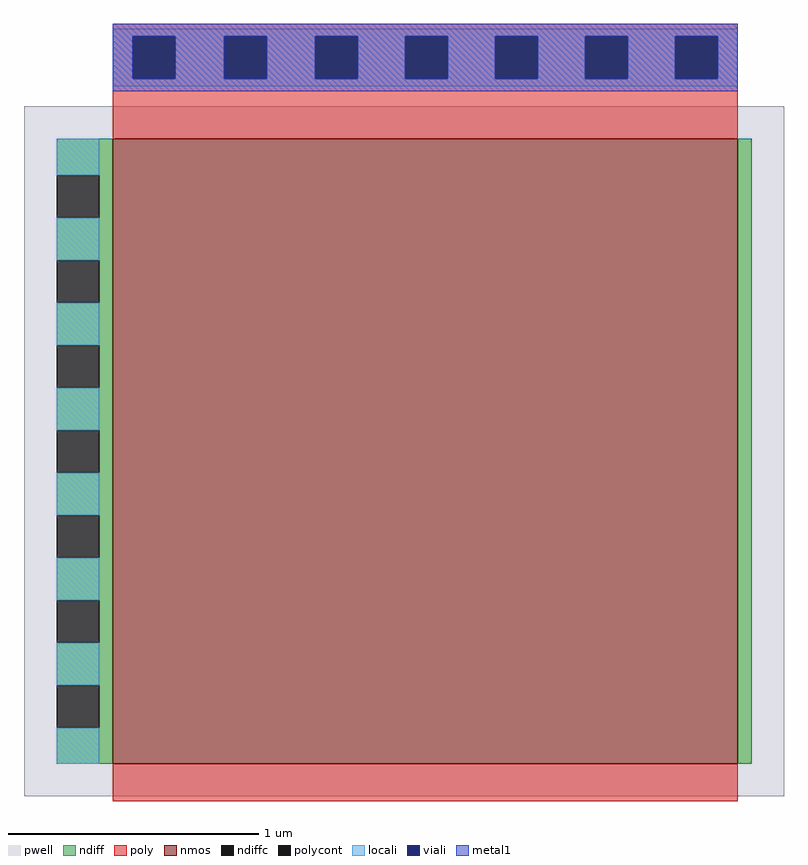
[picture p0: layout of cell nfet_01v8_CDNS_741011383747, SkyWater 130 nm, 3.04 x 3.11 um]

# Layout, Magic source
magic
tech sky130A
magscale 1 2
<< pwell >>
rect -71 -26 537 526
<< nmos >>
rect 0 0 500 500
<< ndiff >>
rect -45 471 0 500
rect -11 437 0 471
rect -45 403 0 437
rect -11 369 0 403
rect -45 335 0 369
rect -11 301 0 335
rect -45 267 0 301
rect -11 233 0 267
rect -45 199 0 233
rect -11 165 0 199
rect -45 131 0 165
rect -11 97 0 131
rect -45 63 0 97
rect -11 29 0 63
rect -45 0 0 29
rect 500 0 511 500
<< ndiffc >>
rect -45 437 -11 471
rect -45 369 -11 403
rect -45 301 -11 335
rect -45 233 -11 267
rect -45 165 -11 199
rect -45 97 -11 131
rect -45 29 -11 63
<< poly >>
rect 0 582 500 592
rect 0 548 16 582
rect 50 548 89 582
rect 123 548 162 582
rect 196 548 234 582
rect 268 548 306 582
rect 340 548 378 582
rect 412 548 450 582
rect 484 548 500 582
rect 0 500 500 548
rect 0 -30 500 0
<< polycont >>
rect 16 548 50 582
rect 89 548 123 582
rect 162 548 196 582
rect 234 548 268 582
rect 306 548 340 582
rect 378 548 412 582
rect 450 548 484 582
<< locali >>
rect 0 582 500 588
rect 0 548 16 582
rect 50 548 89 582
rect 123 548 162 582
rect 196 548 234 582
rect 268 548 306 582
rect 340 548 378 582
rect 412 548 450 582
rect 484 548 500 582
rect 0 542 500 548
rect -45 471 -11 500
rect -45 403 -11 437
rect -45 335 -11 369
rect -45 267 -11 301
rect -45 199 -11 233
rect -45 131 -11 165
rect -45 63 -11 97
rect -45 0 -11 29
<< viali >>
rect 16 548 50 582
rect 89 548 123 582
rect 162 548 196 582
rect 234 548 268 582
rect 306 548 340 582
rect 378 548 412 582
rect 450 548 484 582
<< metal1 >>
rect 0 582 500 592
rect 0 548 16 582
rect 50 548 89 582
rect 123 548 162 582
rect 196 548 234 582
rect 268 548 306 582
rect 340 548 378 582
rect 412 548 450 582
rect 484 548 500 582
rect 0 538 500 548
<< end >>
